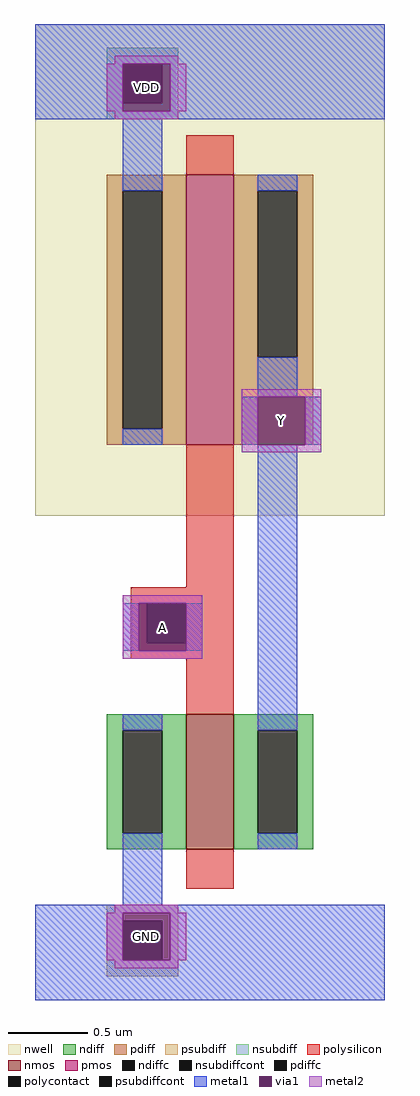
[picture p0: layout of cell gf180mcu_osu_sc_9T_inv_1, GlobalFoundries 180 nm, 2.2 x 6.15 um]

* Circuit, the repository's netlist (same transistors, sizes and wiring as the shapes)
* NGSPICE file created from gf180mcu_osu_sc_9T_inv_1.ext - technology: gf180mcuC

.inc "/import/yukari1/lrburle/globalfoundries-pdk-libs-gf180mcu_osu_sc/char/techfiles/design.hspice"
.lib "/import/yukari1/lrburle/globalfoundries-pdk-libs-gf180mcu_osu_sc/char/techfiles/sm141064.hspice" typical

X0 Y A GND GND nmos_3p3 w=0.85u l=0.3u
X1 Y A VDD VDD pmos_3p3 w=1.7u l=0.3u

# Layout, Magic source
magic
tech gf180mcuC
<< nwell >>
rect 0 61 44 123
<< nmos >>
rect 19 19 25 36
<< pmos >>
rect 19 70 25 104
<< ndiff >>
rect 9 34 19 36
rect 9 21 11 34
rect 16 21 19 34
rect 9 19 19 21
rect 25 34 35 36
rect 25 21 28 34
rect 33 21 35 34
rect 25 19 35 21
<< pdiff >>
rect 9 102 19 104
rect 9 72 11 102
rect 16 72 19 102
rect 9 70 19 72
rect 25 102 35 104
rect 25 81 28 102
rect 33 81 35 102
rect 25 70 35 81
<< ndiffc >>
rect 11 21 16 34
rect 28 21 33 34
<< pdiffc >>
rect 11 72 16 102
rect 28 81 33 102
<< psubdiff >>
rect 9 10 18 12
rect 9 5 11 10
rect 16 5 18 10
rect 9 3 18 5
<< nsubdiff >>
rect 9 118 18 120
rect 9 113 11 118
rect 16 113 18 118
rect 9 111 18 113
<< psubdiffcont >>
rect 11 5 16 10
<< nsubdiffcont >>
rect 11 113 16 118
<< polysilicon >>
rect 19 104 25 109
rect 19 52 25 70
rect 12 50 25 52
rect 12 45 14 50
rect 19 45 25 50
rect 12 43 25 45
rect 19 36 25 43
rect 19 14 25 19
<< polycontact >>
rect 14 45 19 50
<< metal1 >>
rect 0 118 44 123
rect 0 112 11 118
rect 17 112 44 118
rect 0 111 44 112
rect 11 102 16 111
rect 28 102 33 104
rect 28 76 33 81
rect 11 70 16 72
rect 26 70 28 76
rect 34 70 36 76
rect 11 44 13 50
rect 19 44 21 50
rect 11 34 16 36
rect 11 12 16 21
rect 28 34 33 70
rect 28 19 33 21
rect 0 11 44 12
rect 0 5 11 11
rect 17 5 44 11
rect 0 0 44 5
<< via1 >>
rect 11 113 16 118
rect 16 113 17 118
rect 11 112 17 113
rect 28 70 34 76
rect 13 45 14 50
rect 14 45 19 50
rect 13 44 19 45
rect 11 10 17 11
rect 11 5 16 10
rect 16 5 17 10
<< metal2 >>
rect 10 118 18 119
rect 9 112 11 118
rect 17 112 19 118
rect 10 111 18 112
rect 26 76 36 77
rect 26 70 28 76
rect 34 70 36 76
rect 26 69 36 70
rect 11 50 21 51
rect 11 44 13 50
rect 19 44 21 50
rect 11 43 21 44
rect 10 11 18 12
rect 9 5 11 11
rect 17 5 19 11
rect 10 4 18 5
<< labels >>
rlabel metal2 14 115 14 115 1 VDD
rlabel metal2 14 8 14 8 1 GND
rlabel metal2 16 47 16 47 1 A
port 1 n
rlabel metal2 31 73 31 73 1 Y
port 2 n
<< end >>
